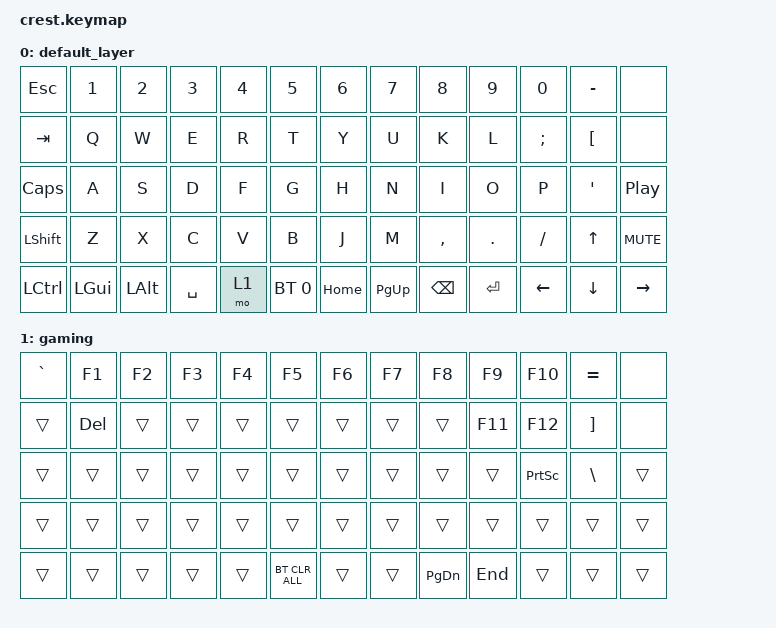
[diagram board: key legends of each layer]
#include <behaviors.dtsi>
#include <dt-bindings/zmk/keys.h>
#include <dt-bindings/zmk/bt.h>
/ {

    keymap {
        sensor-bindings = <&inc_dec_kp PG_UP PG_DN &inc_dec_kp C_VOL_UP C_VOL_DN>;
        compatible = "zmk,keymap";

        default_layer {
// ------------------------------------------------------------------------------------------------------------
// |   `   |  1  |  2  |  3   |  4   |  5   |                   |  6   |  7    |  8    |  9   |   0   |   -   |
// |  ESC  |  Q  |  W  |  E   |  R   |  T   |                   |  Y   |  U    |  I    |  O   |   P   |   [   |
// |  TAB  |  A  |  S  |  D   |  F   |  G   |                   |  H   |  J    |  K    |  L   |   ;   |   '   | media |
// | SHIFT |  Z  |  X  |  C   |  V   |  B   |  MUTE  |  |       |  N   |  M    |  ,    |  .   |   /   | up    | skip  |
//               | GUI | ALT  | CTRL | LOWER|  ENTER |  |       | RAISE| ???   | bksp  | enter| left  | down  | right |
            bindings = <
&kp ESC &kp N1 &kp N2   &kp N3   &kp N4    &kp N5                           &kp N6 &kp N7    &kp N8    &kp N9   &kp N0   &kp MINUS &none
&kp TAB   &kp Q  &kp W    &kp E    &kp R     &kp T                            &kp Y  &kp U     &kp K     &kp L    &kp SEMI    &kp LBKT &none
&kp CAPS   &kp A  &kp S    &kp D    &kp F     &kp G                            &kp H  &kp N     &kp I     &kp O  &kp P  &kp APOS &kp C_PLAY_PAUSE
&kp LSHFT &kp Z  &kp X    &kp C    &kp V     &kp B                            &kp J  &kp M     &kp COMMA &kp DOT  &kp SLASH &kp UP &kp C_MUTE
&kp LCTRL &kp LGUI &kp LALT &kp SPACE &mo 1 &bt BT_SEL 0                       &kp HOME &kp PG_UP &kp BKSP &kp RET  &kp LEFT &kp DOWN &kp RIGHT 
            >;
        };
        gaming {
// ------------------------------------------------------------------------------------------------------------
// |   `   |  1  |  2  |  3   |  4   |  5   |                   |  6   |  7    |  8    |  9   |   0   |   -   |
// |  ESC  |  Q  |  W  |  E   |  R   |  T   |                   |  Y   |  U    |  I    |  O   |   P   |   [   |
// |  TAB  |  A  |  S  |  D   |  F   |  G   |                   |  H   |  J    |  K    |  L   |   ;   |   '   | media |
// | SHIFT |  Z  |  X  |  C   |  V   |  B   |  MUTE  |  |       |  N   |  M    |  ,    |  .   |   /   | up    | skip  |
//               | GUI | ALT  | CTRL | LOWER|  ENTER |  |       | RAISE| ???   | bksp  | enter| left  | down  | right |
// ------------------------------------------------------------------------------------------------------------
// |   `   |  1  |  2  |  3   |  4   |  5   |                   |  6   |  7    |  8    |  9   |   0   |   -   |
// |  ESC  |  Q  |  W  |  E   |  R   |  T   |                   |  Y   |  U    |  I    |  O   |   P   |   [   |
// |  TAB  |  A  |  S  |  D   |  F   |  G   |                   |  H   |  J    |  K    |  L   |   ;   |   '   | media |
// | SHIFT |  Z  |  X  |  C   |  V   |  B   |  MUTE  |  |       |  N   |  M    |  ,    |  .   |   /   | up    | skip  |
//               | GUI | ALT  | CTRL | LOWER|  ENTER |  |       | RAISE| ???   | bksp  | enter| left  | down  | right |
            bindings = <
    &kp GRAVE &kp F1  &kp F2  &kp F3  &kp F4  &kp F5                          &kp F6  &kp F7  &kp F8  &kp F9  &kp F10  &kp EQUAL  &none
    &trans  &kp DEL  &trans  &trans  &trans  &trans                            &trans  &trans  &trans  &kp F11  &kp F12  &kp RBKT  &none
    &trans  &trans  &trans  &trans  &trans  &trans                            &trans  &trans  &trans  &trans  &kp PSCRN  &kp BSLH  &trans
    &trans  &trans  &trans  &trans  &trans  &trans                            &trans  &trans  &trans  &trans  &trans  &trans  &trans
    &trans  &trans  &trans  &trans  &trans  &bt BT_CLR_ALL                            &trans  &trans  &kp PG_DN  &kp END  &trans  &trans  &trans
            >;  
        };
    };
};
